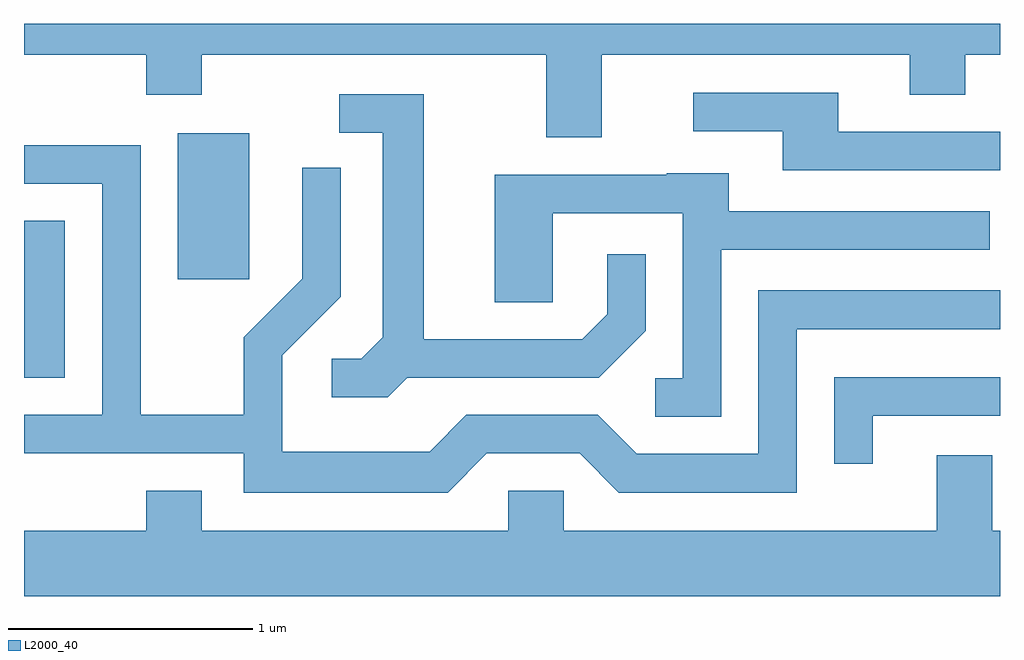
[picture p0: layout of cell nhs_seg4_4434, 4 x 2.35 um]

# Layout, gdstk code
import gdstk
lib = gdstk.Library(unit=1e-6, precision=1e-09)
def R(c, l, rs):  # rectangles x0, y0, x1, y1
    for r in rs: c.add(gdstk.rectangle(r[:2], r[2:], *l))
def P(c, l, *ps):  # polygons
    for p in ps: c.add(gdstk.Polygon(p, *l))
L2000_40 = (2000, 40)

nhs_seg4_4434 = lib.new_cell('nhs_seg4_4434')
R(nhs_seg4_4434, L2000_40, [(315.611,1284.531,315.779,1285.174), (316.241,1284.936,316.534,1285.534)])
P(nhs_seg4_4434, L2000_40, [(317.979,1285.856),(319.241,1285.856),(319.241,1285.691),(319.469,1285.691),(319.469,1285.856),(319.611,1285.856),(319.611,1285.982),(315.611,1285.982),(315.611,1285.856),(316.111,1285.856),(316.111,1285.691),(316.339,1285.691),(316.339,1285.856),(317.751,1285.856),(317.751,1285.516),(317.979,1285.516)],
  [(319.611,1285.539),(318.949,1285.539),(318.949,1285.699),(318.353,1285.699),(318.353,1285.541),(318.721,1285.541),(318.721,1285.381),(319.611,1285.381)],
  [(317.182,1284.531),(317.967,1284.531),(318.159,1284.724),(318.159,1285.038),(318.001,1285.038),(318.001,1284.792),(317.899,1284.689),(317.249,1284.689),(317.249,1285.694),(316.903,1285.694),(316.903,1285.536),(317.081,1285.536),(317.081,1284.697),(316.994,1284.609),(316.873,1284.609),(316.873,1284.451),(317.102,1284.451)],
  [(317.507,1284.221),(317.889,1284.221),(318.049,1284.061),(318.779,1284.061),(318.779,1284.731),(319.611,1284.731),(319.611,1284.889),(318.621,1284.889),(318.621,1284.219),(318.122,1284.219),(317.962,1284.379),(317.424,1284.379),(317.274,1284.229),(316.669,1284.229),(316.669,1284.624),(316.909,1284.864),(316.909,1285.393),(316.751,1285.393),(316.751,1284.937),(316.511,1284.697),(316.511,1284.379),(316.089,1284.379),(316.089,1285.484),(315.611,1285.484),(315.611,1285.326),(315.931,1285.326),(315.931,1284.379),(315.611,1284.379),(315.611,1284.221),(316.511,1284.221),(316.511,1284.061),(317.347,1284.061)],
  [(318.469,1285.056),(319.568,1285.056),(319.568,1285.214),(318.499,1285.214),(318.499,1285.369),(318.245,1285.369),(318.245,1285.364),(317.541,1285.364),(317.541,1284.841),(317.779,1284.841),(317.779,1285.206),(318.311,1285.206),(318.311,1284.529),(318.198,1284.529),(318.198,1284.371),(318.469,1284.371)],
  [(319.089,1284.376),(319.611,1284.376),(319.611,1284.534),(318.931,1284.534),(318.931,1284.178),(319.089,1284.178)],
  [(319.611,1283.904),(319.579,1283.904),(319.579,1284.214),(319.351,1284.214),(319.351,1283.904),(317.824,1283.904),(317.824,1284.069),(317.596,1284.069),(317.596,1283.904),(316.339,1283.904),(316.339,1284.069),(316.111,1284.069),(316.111,1283.904),(315.611,1283.904),(315.611,1283.636),(319.611,1283.636)])

lib.write_gds('nhs_seg4_4434.gds')
